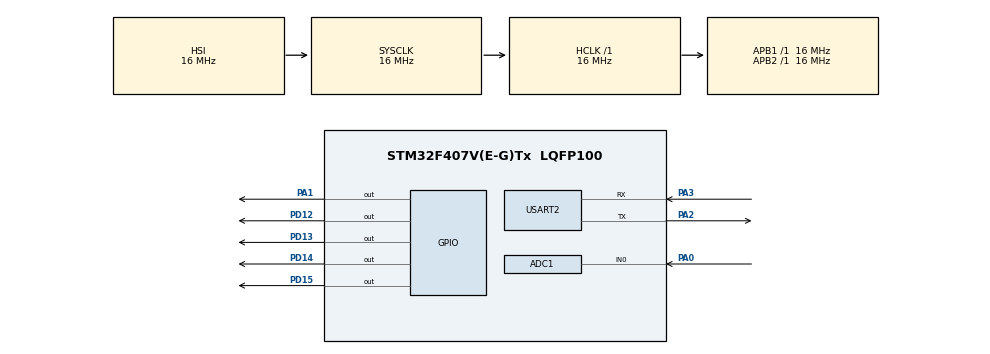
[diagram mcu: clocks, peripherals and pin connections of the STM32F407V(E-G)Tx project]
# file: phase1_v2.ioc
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ADC1.Channel-0\#ChannelRegularConversion=ADC_CHANNEL_0
ADC1.ClockPrescaler=ADC_CLOCK_SYNC_PCLK_DIV8
ADC1.ContinuousConvMode=ENABLE
ADC1.DMAContinuousRequests=ENABLE
ADC1.NbrOfConversion=1
ADC1.NbrOfConversionFlag=1
ADC1.Rank-0\#ChannelRegularConversion=1
ADC1.Resolution=ADC_RESOLUTION_8B
ADC1.SamplingTime-0\#ChannelRegularConversion=ADC_SAMPLETIME_480CYCLES
ADC1.ScanConvMode=ENABLE
ADC1.master=1
Dma.ADC1.0.Direction=DMA_PERIPH_TO_MEMORY
Dma.ADC1.0.FIFOMode=DMA_FIFOMODE_DISABLE
Dma.ADC1.0.Instance=DMA2_Stream0
Dma.ADC1.0.MemDataAlignment=DMA_MDATAALIGN_BYTE
Dma.ADC1.0.MemInc=DMA_MINC_ENABLE
Dma.ADC1.0.Mode=DMA_CIRCULAR
Dma.ADC1.0.PeriphDataAlignment=DMA_PDATAALIGN_BYTE
Dma.ADC1.0.PeriphInc=DMA_PINC_DISABLE
Dma.ADC1.0.Priority=DMA_PRIORITY_LOW
Dma.Request0=ADC1
Mcu.Family=STM32F4
Mcu.Name=STM32F407V(E-G)Tx
Mcu.Package=LQFP100
NVIC.DMA2_Stream0_IRQn=true\:0\:0\:false\:false\:true\:false\:true
NVIC.PriorityGroup=NVIC_PRIORITYGROUP_0
PA0-WKUP.Signal=ADCx_IN0
PA1.Signal=GPIO_Output
PA2.Mode=Asynchronous
PA2.Signal=USART2_TX
PA3.Mode=Asynchronous
PA3.Signal=USART2_RX
PD12.Signal=GPIO_Output
PD13.Signal=GPIO_Output
PD14.Signal=GPIO_Output
PD15.Signal=GPIO_Output
ProjectManager.HeapSize=0x200
ProjectManager.StackSize=0x400
ProjectManager.TargetToolchain=MDK-ARM V5
RCC.48MHZClocksFreq_Value=27428571.42857143
RCC.AHBFreq_Value=16000000
RCC.APB1Freq_Value=16000000
RCC.APB1TimFreq_Value=16000000
RCC.APB2Freq_Value=16000000
RCC.APB2TimFreq_Value=16000000
RCC.CortexFreq_Value=16000000
RCC.HCLKFreq_Value=16000000
RCC.HSE_VALUE=8000000
RCC.HSI_VALUE=16000000
RCC.PLLQ=7
RCC.SYSCLKFreq_VALUE=16000000
RCC.VCOOutputFreq_Value=192000000
SH.ADCx_IN0.0=ADC1_IN0,IN0
TIM6.Period=0xffff-1
TIM6.Prescaler=16-1
USART2.VirtualMode=VM_ASYNC
VP_TIM6_VS_ClockSourceINT.Mode=Enable_Timer
board=STM32F407G-DISC1

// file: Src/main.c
/* USER CODE BEGIN Header */
/**
  ******************************************************************************
  * @file           : main.c
  * @brief          : Main program body
  ******************************************************************************
  * @attention
  *
  * <h2><center>&copy; Copyright (c) 2020 STMicroelectronics.
  * All rights reserved.</center></h2>
  *
  * This software component is licensed by ST under BSD 3-Clause license,
  * the "License"; You may not use this file except in compliance with the
  * License. You may obtain a copy of the License at:
  *                        opensource.org/licenses/BSD-3-Clause
  *
  ******************************************************************************
	*
	******************************************************************************
	* Reference:
	*
	* [1] Controllers Tech. "DHT11 || DHT22 || DS18B20 with STM32 using TIMER Delay,"
	* YouTube, Mar. 05, 2020 [Video file]. Available: https://www.youtube.com/wat
	* ch?v=09C1dyXvSbg&t=286s. [Accessed: Apr. 20, 2020].
	*
	* [2] MYaqoobEmbedded. "STM32F4 Discovery board - Keil 5 IDE with CubeMX: Tutorial
	* 3 ADC single conv," YouTube, Oct. 25, 2017 [Video file]. Available: https://
	* www.youtube.com/watch?v=VaAl9hnPGiA&t=199s. [Accessed: Apr. 20, 2020].
	*
	******************************************************************************
  *
  */
/* USER CODE END Header */

#include "main.h"

/* USER CODE BEGIN Includes */
#include <string.h>
#include <stdio.h>
#include <stdlib.h>
/* USER CODE END Includes */

ADC_HandleTypeDef hadc1;
DMA_HandleTypeDef hdma_adc1;

TIM_HandleTypeDef htim6;

UART_HandleTypeDef huart2;
DMA_HandleTypeDef hdma_usart2_rx;

void SystemClock_Config(void);
static void MX_GPIO_Init(void);
static void MX_DMA_Init(void);
static void MX_ADC1_Init(void);
static void MX_USART2_UART_Init(void);
static void MX_TIM6_Init(void);

/* USER CODE BEGIN 0 */

//********************************** DHT22 functions *****************************************//
void delay (uint16_t time)
{
	/* change your code here for the delay in microseconds */
	__HAL_TIM_SET_COUNTER(&htim6, 0);
	while ((__HAL_TIM_GET_COUNTER(&htim6))<time);
}

// DHT22 variables
uint8_t Rh_byte1, Rh_byte2, Temp_byte1, Temp_byte2;
uint16_t SUM, RH, TEMP;
float Temperature = 0;
float Humidity = 0;
uint8_t Presence = 0;
// humidity data ave
float h_data1[5];
float h_data2[5];
float h1 = 0;
float h2 = 0;
float h3 = 0;
float h_old = 0;

// soil moisture data ave
float sm_data1[10];
float sm_data2[10];
float sm1;
float sm2;
float sm3;
float sm_old;

// Soil mositure variables
uint32_t moist;
float moistPercent;
const float max_moist = 3250;  // MAX: 12bit<3300>, 10bit<750>, first v 3300 when in air
const float min_moist = 1910;  // MIN: 12bit<1930>, 10bit<400>, first v 1930 when in water

#define ADC_RES_USER ADC_RESOLUTION_12B  // see MX_ADC1_Init(void)\hadc1.Init.Resolution

void Set_Pin_Output (GPIO_TypeDef *GPIOx, uint16_t GPIO_Pin)
{
	GPIO_InitTypeDef GPIO_InitStruct = {0};
	GPIO_InitStruct.Pin = GPIO_Pin;
	GPIO_InitStruct.Mode = GPIO_MODE_OUTPUT_PP;
	GPIO_InitStruct.Speed = GPIO_SPEED_FREQ_LOW;
	HAL_GPIO_Init(GPIOx, &GPIO_InitStruct);
}

void Set_Pin_Input (GPIO_TypeDef *GPIOx, uint16_t GPIO_Pin)
{
	GPIO_InitTypeDef GPIO_InitStruct = {0};
	GPIO_InitStruct.Pin = GPIO_Pin;
	GPIO_InitStruct.Mode = GPIO_MODE_INPUT;
	GPIO_InitStruct.Pull = GPIO_PULLUP;
	HAL_GPIO_Init(GPIOx, &GPIO_InitStruct);
}

//********************************* DHT22 function [1] ************************************//
#define DHT22_PORT GPIOA
#define DHT22_PIN GPIO_PIN_1

// initiate DHT22 sends start signal from stm32
void DHT22_Start (void)
{
	Set_Pin_Output(DHT22_PORT, DHT22_PIN); // set the pin as output
	HAL_GPIO_WritePin (DHT22_PORT, DHT22_PIN, GPIO_PIN_RESET);   // pull the pin low, GPIO_PIN_RESET = 0
	delay(1200);   // wait for > 1ms

	HAL_GPIO_WritePin (DHT22_PORT, DHT22_PIN, GPIO_PIN_SET);   // pull the pin high, GPIO_PIN_SET = 1
	delay (20);   // wait for 30us

	Set_Pin_Input(DHT22_PORT, DHT22_PIN);   // set as input
}

// check if DHT22 starts properly
uint8_t DHT22_Check_Response (void)
{
//	Set_Pin_Input(DHT22_PORT, DHT22_PIN);   // set as input
	uint8_t Response = 0;
	delay (40);  // wait for 40us
	if (!(HAL_GPIO_ReadPin (DHT22_PORT, DHT22_PIN))) // if the pin is low
	{
		delay (80);   // wait for 80us

		if ((HAL_GPIO_ReadPin (DHT22_PORT, DHT22_PIN))) Response = 1;  // if the pin is high, response is ok
		else Response = -1;
	}

	while ((HAL_GPIO_ReadPin (DHT22_PORT, DHT22_PIN)));   // wait for the pin to go low
	return Response;
}

// reads data from DHT22
uint8_t DHT22_Read (void)
{
	uint8_t i,j;
	for (j=0;j<8;j++)
	{
		while (!(HAL_GPIO_ReadPin (DHT22_PORT, DHT22_PIN)));   // wait for the pin to go high
		delay (40);   // wait for 40 us

		if (!(HAL_GPIO_ReadPin (DHT22_PORT, DHT22_PIN)))   // if the pin is low
		{
			i&= ~(1<<(7-j));   // write 0
		}
		else i|= (1<<(7-j));  // if the pin is high, write 1
		while ((HAL_GPIO_ReadPin (DHT22_PORT, DHT22_PIN)));  // wait for the pin to go low
	}

	return i;
}
//********************************* DHT22 function ends ************************************//

// convert soil sensor data from adc port [2]
void Moist_Read (void) {
	if (HAL_ADC_PollForConversion(&hadc1, 5) == HAL_OK) { // 5ms conversion
			moist = HAL_ADC_GetValue(&hadc1);
			// 3300 1910
			if (moist > max_moist) {
				moistPercent = 0.00;
			} else if (moist < min_moist) {
				moistPercent = 100;
			} else {

				moistPercent = -100.0 / (max_moist - min_moist) * ((float)moist - max_moist);
			}
	} else {
			moist = -1;
			moistPercent = -1;
	}
}

//********************************* Average function ************************************//
float ave_calc(float new_data, float data_array[], int size) {
	float sum = 0;
	float ave = 0;
	float temp1 = 0;
	float temp2 = data_array[0];
	int non_zero = 0;

	for (int i = 0; i < size-1; i++) {
		temp1 = data_array[i+1];
		data_array[i+1] = temp2;
		temp2 = temp1;
	}
	data_array[0] = new_data;

	for (int i = 0; i < size; i++) {
		if (data_array[i] != 0) {
			sum += data_array[i];
			non_zero += 1;
		}
	}

	if (non_zero == 0) {
		non_zero = 1;
	}

	ave = (float)sum/non_zero;

	return ave;
}

//********************************* smooth function ***********************************//
//float smooth(float ave, float old_data) {
//	float output = 0;
////	if (old_data == 0) {
////		output = ave;
////	} else {
////		output = 1 * old_data + 0 * ave;
////	}
//	output = ave;
//
//	old_data = output;
//
//	return output;
//}
/* USER CODE END 0 */

int main(void)
{

  /* MCU Configuration--------------------------------------------------------*/

  /* Reset of all peripherals, Initializes the Flash interface and the Systick. */
  HAL_Init();

  /* Configure the system clock */
  SystemClock_Config();

  /* Initialize all configured peripherals */
  MX_GPIO_Init();
  MX_DMA_Init();
  MX_ADC1_Init();
  MX_USART2_UART_Init();
  MX_TIM6_Init();
  /* USER CODE BEGIN 2 */
	// start Timer6
	HAL_TIM_Base_Start(&htim6);

	// text data send to UART
	char txData1[30];

  /* USER CODE END 2 */

  /* Infinite loop */
  /* USER CODE BEGIN WHILE */
  while (1)
  {
		HAL_GPIO_TogglePin(GPIOD, GPIO_PIN_12); // loop starts <YELLOW>

    //*************************** Temp and Humid ***************************//
		DHT22_Start();
	  Presence = DHT22_Check_Response();
		// read data from sensor
	  Rh_byte1 = DHT22_Read ();
    Rh_byte2 = DHT22_Read ();
	  Temp_byte1 = DHT22_Read ();
	  Temp_byte2 = DHT22_Read ();
	  SUM = DHT22_Read();
		HAL_GPIO_TogglePin(GPIOD, GPIO_PIN_15); // read function finished < BLUE>
	  TEMP = ((Temp_byte1<<8)|Temp_byte2);
	  RH = ((Rh_byte1<<8)|Rh_byte2);

		// converts raw data into proper numbers
	  Temperature = (float) ((TEMP-5)/10.0);
	  Humidity = (float) ((RH-35)/10.0);

		h1 = ave_calc(Humidity, h_data1, sizeof(h_data1)/sizeof(h_data1[0]));
		h2 = ave_calc(h1, h_data2, sizeof(h_data2)/sizeof(h_data2[0]));

		//***************************** Soil Moist [2] *****************************//
		HAL_ADC_Start(&hadc1);
		Moist_Read();
		HAL_ADC_Stop(&hadc1);
		HAL_GPIO_TogglePin(GPIOD, GPIO_PIN_13); // moist read fuction finished <Orange>

		sm1 = ave_calc(moistPercent, sm_data1, sizeof(sm_data1)/sizeof(sm_data1[0]));
		sm2 = ave_calc(sm1, sm_data2, sizeof(sm_data2)/sizeof(sm_data2[0]));

		//*************************** Soild Moist ***************************//
		sprintf(txData1, "Temperature:   %5.1fC\r\nHumidity:      %5.1f%%\r\nSoil Mositure: %5.1f%%\r\n\n", Temperature, h2, sm2);
//		sprintf(txData2, "", );
//		sprintf(txData3, "", );

		HAL_UART_Transmit(&huart2, (uint8_t *)txData1, strlen(txData1), 10); // 10 ms timeout
//		HAL_UART_Transmit(&huart2, (uint8_t *)txData2, strlen(txData2), 10); // 10 ms timeout
//		HAL_UART_Transmit(&huart2, (uint8_t *)txData3, strlen(txData3), 10); // 10 ms timeout

		HAL_GPIO_TogglePin(GPIOD, GPIO_PIN_14); // UART finished <RED>

		// check temp and humidity every 1 s
		HAL_Delay(1000);

  }
}

void SystemClock_Config(void)
{
  RCC_OscInitTypeDef RCC_OscInitStruct = {0};
  RCC_ClkInitTypeDef RCC_ClkInitStruct = {0};

  /** Configure the main internal regulator output voltage
  */
  __HAL_RCC_PWR_CLK_ENABLE();
  __HAL_PWR_VOLTAGESCALING_CONFIG(PWR_REGULATOR_VOLTAGE_SCALE1);
  /** Initializes the CPU, AHB and APB busses clocks
  */
  RCC_OscInitStruct.OscillatorType = RCC_OSCILLATORTYPE_HSI;
  RCC_OscInitStruct.HSIState = RCC_HSI_ON;
  RCC_OscInitStruct.HSICalibrationValue = RCC_HSICALIBRATION_DEFAULT;
  RCC_OscInitStruct.PLL.PLLState = RCC_PLL_NONE;
  if (HAL_RCC_OscConfig(&RCC_OscInitStruct) != HAL_OK)
  {
    Error_Handler();
  }
  /** Initializes the CPU, AHB and APB busses clocks
  */
  RCC_ClkInitStruct.ClockType = RCC_CLOCKTYPE_HCLK|RCC_CLOCKTYPE_SYSCLK
                              |RCC_CLOCKTYPE_PCLK1|RCC_CLOCKTYPE_PCLK2;
  RCC_ClkInitStruct.SYSCLKSource = RCC_SYSCLKSOURCE_HSI;
  RCC_ClkInitStruct.AHBCLKDivider = RCC_SYSCLK_DIV1;
  RCC_ClkInitStruct.APB1CLKDivider = RCC_HCLK_DIV1;
  RCC_ClkInitStruct.APB2CLKDivider = RCC_HCLK_DIV1;

  if (HAL_RCC_ClockConfig(&RCC_ClkInitStruct, FLASH_LATENCY_0) != HAL_OK)
  {
    Error_Handler();
  }
}

static void MX_ADC1_Init(void)
{

  ADC_ChannelConfTypeDef sConfig = {0};

  /** Configure the global features of the ADC (Clock, Resolution, Data Alignment and number of conversion)
  */
  hadc1.Instance = ADC1;
  hadc1.Init.ClockPrescaler = ADC_CLOCK_SYNC_PCLK_DIV8;
  hadc1.Init.Resolution = ADC_RES_USER;
  hadc1.Init.ScanConvMode = ENABLE;
  hadc1.Init.ContinuousConvMode = ENABLE;
  hadc1.Init.DiscontinuousConvMode = DISABLE;
  hadc1.Init.ExternalTrigConvEdge = ADC_EXTERNALTRIGCONVEDGE_NONE;
  hadc1.Init.ExternalTrigConv = ADC_SOFTWARE_START;
  hadc1.Init.DataAlign = ADC_DATAALIGN_RIGHT;
  hadc1.Init.NbrOfConversion = 1;
  hadc1.Init.DMAContinuousRequests = ENABLE;
  hadc1.Init.EOCSelection = ADC_EOC_SINGLE_CONV;
  if (HAL_ADC_Init(&hadc1) != HAL_OK)
  {
    Error_Handler();
  }
  /** Configure for the selected ADC regular channel its corresponding rank in the sequencer and its sample time.
  */
  sConfig.Channel = ADC_CHANNEL_0;
  sConfig.Rank = 1;
  sConfig.SamplingTime = ADC_SAMPLETIME_480CYCLES;
  if (HAL_ADC_ConfigChannel(&hadc1, &sConfig) != HAL_OK)
  {
    Error_Handler();
  }

}

static void MX_TIM6_Init(void)
{

  TIM_MasterConfigTypeDef sMasterConfig = {0};

  htim6.Instance = TIM6;
  htim6.Init.Prescaler = 16-1;
  htim6.Init.CounterMode = TIM_COUNTERMODE_UP;
  htim6.Init.Period = 0xffff-1;
  htim6.Init.AutoReloadPreload = TIM_AUTORELOAD_PRELOAD_DISABLE;
  if (HAL_TIM_Base_Init(&htim6) != HAL_OK)
  {
    Error_Handler();
  }
  sMasterConfig.MasterOutputTrigger = TIM_TRGO_RESET;
  sMasterConfig.MasterSlaveMode = TIM_MASTERSLAVEMODE_DISABLE;
  if (HAL_TIMEx_MasterConfigSynchronization(&htim6, &sMasterConfig) != HAL_OK)
  {
    Error_Handler();
  }

}

static void MX_USART2_UART_Init(void)
{

  huart2.Instance = USART2;
  huart2.Init.BaudRate = 115200;
  huart2.Init.WordLength = UART_WORDLENGTH_8B;
  huart2.Init.StopBits = UART_STOPBITS_1;
  huart2.Init.Parity = UART_PARITY_NONE;
  huart2.Init.Mode = UART_MODE_TX_RX;
  huart2.Init.HwFlowCtl = UART_HWCONTROL_NONE;
  huart2.Init.OverSampling = UART_OVERSAMPLING_16;
  if (HAL_UART_Init(&huart2) != HAL_OK)
  {
    Error_Handler();
  }

}

static void MX_DMA_Init(void)
{

  /* DMA controller clock enable */
  __HAL_RCC_DMA2_CLK_ENABLE();

  /* DMA interrupt init */
  /* DMA2_Stream0_IRQn interrupt configuration */
  HAL_NVIC_SetPriority(DMA2_Stream0_IRQn, 0, 0);
  HAL_NVIC_EnableIRQ(DMA2_Stream0_IRQn);

}

static void MX_GPIO_Init(void)
{
  GPIO_InitTypeDef GPIO_InitStruct = {0};

  /* GPIO Ports Clock Enable */
  __HAL_RCC_GPIOA_CLK_ENABLE();
  __HAL_RCC_GPIOD_CLK_ENABLE();

  /*Configure GPIO pin Output Level */
  HAL_GPIO_WritePin(GPIOA, GPIO_PIN_1, GPIO_PIN_RESET);

  /*Configure GPIO pin Output Level */
  HAL_GPIO_WritePin(GPIOD, GPIO_PIN_12|GPIO_PIN_13|GPIO_PIN_14|GPIO_PIN_15, GPIO_PIN_RESET);

  /*Configure GPIO pin : PA1 */
  GPIO_InitStruct.Pin = GPIO_PIN_1;
  GPIO_InitStruct.Mode = GPIO_MODE_OUTPUT_PP;
  GPIO_InitStruct.Pull = GPIO_NOPULL;
  GPIO_InitStruct.Speed = GPIO_SPEED_FREQ_LOW;
  HAL_GPIO_Init(GPIOA, &GPIO_InitStruct);

  /*Configure GPIO pins : PD12 PD13 PD14 PD15 */
  GPIO_InitStruct.Pin = GPIO_PIN_12|GPIO_PIN_13|GPIO_PIN_14|GPIO_PIN_15;
  GPIO_InitStruct.Mode = GPIO_MODE_OUTPUT_PP;
  GPIO_InitStruct.Pull = GPIO_NOPULL;
  GPIO_InitStruct.Speed = GPIO_SPEED_FREQ_LOW;
  HAL_GPIO_Init(GPIOD, &GPIO_InitStruct);

}

void Error_Handler(void)
{
}

/************************ (C) COPYRIGHT STMicroelectronics *****END OF FILE****/
